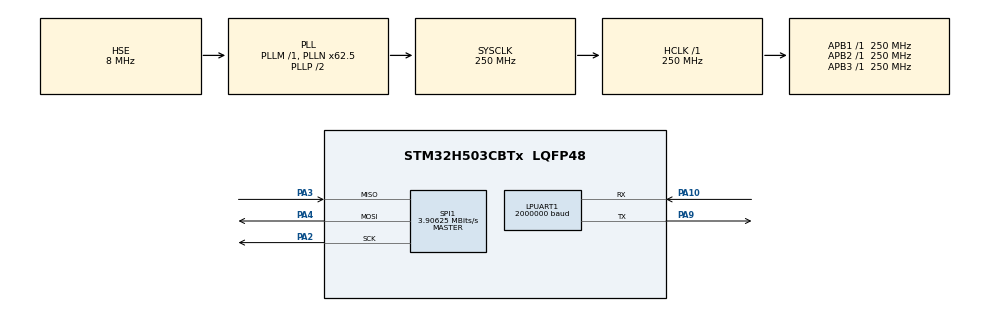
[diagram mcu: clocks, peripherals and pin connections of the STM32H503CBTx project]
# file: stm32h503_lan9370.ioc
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CORTEX_M33_NS.Number-Cortex_Memory_Protection_Unit_Region0_OTP_RO_AREAS_Settings=MPU_REGION_NUMBER0
CORTEX_M33_NS.default_mode_Activation=1
LPUART1.BaudRate=2000000
LPUART1.DMADisableonRxErrorParam=UART_ADVFEATURE_DMA_DISABLEONRXERROR
LPUART1.OverrunDisableParam=UART_ADVFEATURE_OVERRUN_DISABLE
Mcu.Family=STM32H5
Mcu.Name=STM32H503CBTx
Mcu.Package=LQFP48
NVIC.LPUART1_IRQn=true\:0\:0\:false\:false\:true\:true\:true\:true
NVIC.PriorityGroup=NVIC_PRIORITYGROUP_4
PA10.Mode=Asynchronous
PA10.Signal=LPUART1_RX
PA13(JTMS/SWDIO).Mode=Serial_Wire
PA13(JTMS/SWDIO).Signal=DEBUG_JTMS-SWDIO
PA14(JTCK/SWCLK).Mode=Serial_Wire
PA14(JTCK/SWCLK).Signal=DEBUG_JTCK-SWCLK
PA2.Mode=Full_Duplex_Master
PA2.Signal=SPI1_SCK
PA3.Mode=Full_Duplex_Master
PA3.Signal=SPI1_MISO
PA4.Mode=Full_Duplex_Master
PA4.Signal=SPI1_MOSI
PA9.Mode=Asynchronous
PA9.Signal=LPUART1_TX
PH0-OSC_IN(PH0).Mode=HSE-External-Oscillator
PH0-OSC_IN(PH0).Signal=RCC_OSC_IN
PH1-OSC_OUT(PH1).Mode=HSE-External-Oscillator
PH1-OSC_OUT(PH1).Signal=RCC_OSC_OUT
ProjectManager.HeapSize=0x200
ProjectManager.StackSize=0x400
ProjectManager.TargetToolchain=CMake
RCC.ADCFreq_Value=250000000
RCC.AHBFreq_Value=250000000
RCC.APB1Freq_Value=250000000
RCC.APB1TimFreq_Value=250000000
RCC.APB2Freq_Value=250000000
RCC.APB2TimFreq_Value=250000000
RCC.APB3Freq_Value=250000000
RCC.CSI_VALUE=4000000
RCC.CortexFreq_Value=250000000
RCC.EPOD_VALUE=8000000
RCC.HCLKFreq_Value=250000000
RCC.HSE_VALUE=8000000
RCC.HSI48_VALUE=48000000
RCC.HSI_VALUE=64000000
RCC.LSE_VALUE=32768
RCC.LSIRC_VALUE=32000
RCC.PLLFRACN=4096
RCC.PLLN=62
RCC.PLLSourceVirtual=RCC_PLL1_SOURCE_HSE
RCC.SYSCLKFreq_VALUE=250000000
RCC.SYSCLKSource=RCC_SYSCLKSOURCE_PLLCLK
RCC.USBFreq_Value=48000000
RCC.VCOOutputFreq_Value=500000000
SPI1.BaudRatePrescaler=SPI_BAUDRATEPRESCALER_64
SPI1.CalculateBaudRate=3.90625 MBits/s
SPI1.DataSize=SPI_DATASIZE_8BIT
SPI1.Direction=SPI_DIRECTION_2LINES
SPI1.Mode=SPI_MODE_MASTER
SPI1.VirtualType=VM_MASTER
VP_BOOTPATH_VS_BOOTPATH.Mode=BP_Activate
VP_CORTEX_M33_NS_VS_Hclk.Mode=Hclk_Mode
VP_ICACHE_VS_ICACHE.Mode=DirectMappedCache
VP_MEMORYMAP_VS_MEMORYMAP.Mode=CurAppReg
VP_PWR_VS_LPOM.Mode=PowerOptimisation
VP_PWR_VS_SECSignals.Mode=Security/Privilege
board=custom

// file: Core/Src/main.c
/* USER CODE BEGIN Header */
/**
  ******************************************************************************
  * @file           : main.c
  * @brief          : Main program body
  ******************************************************************************
  * @attention
  *
  * Copyright (c) 2026 STMicroelectronics.
  * All rights reserved.
  *
  * This software is licensed under terms that can be found in the LICENSE file
  * in the root directory of this software component.
  * If no LICENSE file comes with this software, it is provided AS-IS.
  *
  ******************************************************************************
  */
/* USER CODE END Header */
#include "main.h"

/* USER CODE BEGIN Includes */
#include "lan9370_driver.h"
#include "lan9370_persist.h"
#include "lan8720_driver.h"
#include "shell_port.h"
#include "app_extensions.h"
#include <stdio.h>
/* USER CODE END Includes */

/* USER CODE BEGIN PD */
#define STATUS_LED_PORT                    GPIOA
#define STATUS_LED_PIN                     GPIO_PIN_5

#define APP_MONITOR_POLL_MS                100U
#define APP_LED_SLOW_BLINK_MS              500U
#define APP_LED_FAST_BLINK_MS              100U
#define APP_LED_ACTIVITY_HOLD_MS           150U
#define APP_PORT2_RECOVERY_TRIGGER_MS      3000U
#define APP_PORT2_RECOVERY_INTERVAL_MS     5000U

/* USER CODE END PD */

UART_HandleTypeDef hlpuart1;

SPI_HandleTypeDef hspi1;

/* USER CODE BEGIN PV */
typedef struct {
  uint32_t lastPollMs;
  uint32_t lastActivityMs;
  uint32_t lastLedToggleMs;
  uint32_t port2DownSinceMs;
  uint32_t lastRecoveryMs;
  uint32_t port2RxTotal;
  uint32_t port2TxTotal;
  uint32_t port5RxTotal;
  uint32_t port5TxTotal;
  uint8_t ledState;
  uint8_t countersValid;
} AppMonitorState_t;

static AppMonitorState_t gAppMonitor = {0};

/* USER CODE END PV */

void SystemClock_Config(void);
static void MPU_Config(void);
static void MX_GPIO_Init(void);
static void MX_ICACHE_Init(void);
static void MX_LPUART1_UART_Init(void);
static void MX_SPI1_Init(void);
/* USER CODE BEGIN PFP */
static void App_StatusLed_Init(void);
static void App_StatusLed_Write(uint8_t on);
static void App_Port2Recover(void);
static void App_MonitorProcess(void);

/* USER CODE END PFP */

/* USER CODE BEGIN 0 */
static void App_StatusLed_Init(void)
{
  GPIO_InitTypeDef GPIO_InitStruct = {0};

  __HAL_RCC_GPIOA_CLK_ENABLE();

  GPIO_InitStruct.Pin = STATUS_LED_PIN;
  GPIO_InitStruct.Mode = GPIO_MODE_OUTPUT_PP;
  GPIO_InitStruct.Pull = GPIO_NOPULL;
  GPIO_InitStruct.Speed = GPIO_SPEED_FREQ_LOW;
  HAL_GPIO_Init(STATUS_LED_PORT, &GPIO_InitStruct);

  App_StatusLed_Write(0U);
}

static void App_StatusLed_Write(uint8_t on)
{
  HAL_GPIO_WritePin(STATUS_LED_PORT, STATUS_LED_PIN, on ? GPIO_PIN_SET : GPIO_PIN_RESET);
  gAppMonitor.ledState = on;
}

static void App_Port2Recover(void)
{
  printf("[RECOVER] Port2 link down, restarting T1 PHY...\r\n");
  (void)LAN9370_RecoverT1Port(LAN9370_PORT_2);
}

static void App_MonitorProcess(void)
{
  LAN9370_PortStatus_t port2Status;
  LAN8720_Status_t lan8720Status;
  uint32_t nowMs;
  uint32_t port2Rx = 0;
  uint32_t port2Tx = 0;
  uint32_t port5Rx = 0;
  uint32_t port5Tx = 0;
  uint8_t port2Mstp = 0U;
  uint8_t port2LinkUp;
  uint8_t port5LinkUp;
  uint8_t activityDetected = 0U;

  nowMs = HAL_GetTick();
  if ((nowMs - gAppMonitor.lastPollMs) < APP_MONITOR_POLL_MS) {
    return;
  }
  gAppMonitor.lastPollMs = nowMs;

  port2LinkUp = (LAN9370_GetPortStatus(LAN9370_PORT_2, &port2Status) == LAN9370_OK && port2Status.linkUp) ? 1U : 0U;
  port5LinkUp = (LAN8720_GetStatus(&lan8720Status) == LAN8720_OK && lan8720Status.linkUp) ? 1U : 0U;
  (void)LAN9370_SPI_ReadReg8(PORT_CTRL_ADDR(1U, REG_PORTn_MSTP_STATE), &port2Mstp);

  if (LAN9370_ReadPortMibCounter(LAN9370_PORT_2, LAN9370_MIB_RX_TOTAL_IDX, &port2Rx) == LAN9370_OK &&
      LAN9370_ReadPortMibCounter(LAN9370_PORT_2, LAN9370_MIB_TX_TOTAL_IDX, &port2Tx) == LAN9370_OK &&
      LAN9370_ReadPortMibCounter(LAN9370_PORT_5, LAN9370_MIB_RX_TOTAL_IDX, &port5Rx) == LAN9370_OK &&
      LAN9370_ReadPortMibCounter(LAN9370_PORT_5, LAN9370_MIB_TX_TOTAL_IDX, &port5Tx) == LAN9370_OK) {

    if (gAppMonitor.countersValid != 0U) {
      if (port2Rx != gAppMonitor.port2RxTotal ||
          port2Tx != gAppMonitor.port2TxTotal ||
          port5Rx != gAppMonitor.port5RxTotal ||
          port5Tx != gAppMonitor.port5TxTotal) {
        activityDetected = 1U;
        gAppMonitor.lastActivityMs = nowMs;
      }
    } else {
      gAppMonitor.countersValid = 1U;
      gAppMonitor.lastActivityMs = nowMs;
    }

    gAppMonitor.port2RxTotal = port2Rx;
    gAppMonitor.port2TxTotal = port2Tx;
    gAppMonitor.port5RxTotal = port5Rx;
    gAppMonitor.port5TxTotal = port5Tx;
  }

  if ((port2Mstp & (PORT_TX_ENABLE | PORT_RX_ENABLE)) == 0U) {
    gAppMonitor.port2DownSinceMs = 0U;
  } else if (port2LinkUp == 0U) {
    if (gAppMonitor.port2DownSinceMs == 0U) {
      gAppMonitor.port2DownSinceMs = nowMs;
    } else if ((nowMs - gAppMonitor.port2DownSinceMs) >= APP_PORT2_RECOVERY_TRIGGER_MS &&
               (nowMs - gAppMonitor.lastRecoveryMs) >= APP_PORT2_RECOVERY_INTERVAL_MS) {
      App_Port2Recover();
      gAppMonitor.lastRecoveryMs = HAL_GetTick();
      gAppMonitor.port2DownSinceMs = gAppMonitor.lastRecoveryMs;
    }
  } else {
    gAppMonitor.port2DownSinceMs = 0U;
  }

  if (port2LinkUp == 0U && port5LinkUp == 0U) {
    App_StatusLed_Write(0U);
  } else if (port2LinkUp == 0U || port5LinkUp == 0U) {
    if ((nowMs - gAppMonitor.lastLedToggleMs) >= APP_LED_SLOW_BLINK_MS) {
      gAppMonitor.lastLedToggleMs = nowMs;
      App_StatusLed_Write((uint8_t)!gAppMonitor.ledState);
    }
  } else if (activityDetected != 0U || (nowMs - gAppMonitor.lastActivityMs) <= APP_LED_ACTIVITY_HOLD_MS) {
    if ((nowMs - gAppMonitor.lastLedToggleMs) >= APP_LED_FAST_BLINK_MS) {
      gAppMonitor.lastLedToggleMs = nowMs;
      App_StatusLed_Write((uint8_t)!gAppMonitor.ledState);
    }
  } else {
    App_StatusLed_Write(1U);
  }
}
/* USER CODE END 0 */

int main(void)
{

  /* MCU Configuration--------------------------------------------------------*/

  /* MPU Configuration--------------------------------------------------------*/
  MPU_Config();

  /* Reset of all peripherals, Initializes the Flash interface and the Systick. */
  HAL_Init();

  /* Configure the system clock */
  SystemClock_Config();

  /* Initialize all configured peripherals */
  MX_GPIO_Init();
  App_StatusLed_Init();
  MX_ICACHE_Init();
  MX_LPUART1_UART_Init();
  MX_SPI1_Init();
  /* USER CODE BEGIN 2 */

  /* Initialize shell UART output first so printf works during init */
  Shell_Init(&hlpuart1);

  /* ======================================================================= */
  /* Initialize LAN9370 Switch                                              */
  /* ======================================================================= */
  if (LAN9370_Init(&hspi1) != LAN9370_OK) {
    printf("[ERR] LAN9370 init failed\r\n");
    Error_Handler();
  }

  /* Chip info */
  {
    LAN9370_ChipInfo_t chipInfo;
    if (LAN9370_GetChipInfo(&chipInfo) == LAN9370_OK) {
      printf("[LAN9370] %s, ID=0x%08lX, Rev=%d\r\n",
             chipInfo.chipName, chipInfo.chipId, chipInfo.revisionId);
    }
  }

  /* Post-reset VPHY indirect access enable (critical for T1 PHY access) */
  {
    uint8_t vphyVal = 0;
    for (int attempt = 0; attempt < 5; attempt++) {
      HAL_Delay(10);
      LAN9370_SPI_ReadReg8(0x077C, &vphyVal);
      LAN9370_SPI_WriteReg8(0x077C, vphyVal | 0x10);
      HAL_Delay(5);
      LAN9370_SPI_ReadReg8(0x077C, &vphyVal);
      if (vphyVal & 0x10) break;
    }
    if (!(vphyVal & 0x10)) {
      printf("[WARN] VPHY enable failed, T1 ports may not work\r\n");
    }
  }

  /* ---- 100BASE-T1 Port Configuration ----
   * Current bench wiring only uses Port2 <-> external 100BASE-T1 device.
   * Port1/3/4 are left floating and should stay disabled in release builds. */
  LAN9370_SetPortEnable(LAN9370_PORT_1, false);
  LAN9370_SetT1MasterSlave(LAN9370_PORT_2, LAN9370_T1_MASTER);
  LAN9370_SetPortEnable(LAN9370_PORT_2, true);
  LAN9370_SetPortEnable(LAN9370_PORT_3, false);
  LAN9370_SetPortEnable(LAN9370_PORT_4, false);

  /* ---- Port 5: RMII to LAN8720 ---- */
  {
    uint8_t xmii0, xmii1;
    LAN9370_SPI_ReadReg8(0x5300, &xmii0);
    xmii0 = (xmii0 & 0xE3) | 0x01;  /* RMII mode, TX/RX clocks output */
    LAN9370_SPI_WriteReg8(0x5300, xmii0);

    LAN9370_SPI_ReadReg8(0x5301, &xmii1);
    xmii1 |= 0xC0;  /* REFCLK input, 100M only */
    LAN9370_SPI_WriteReg8(0x5301, xmii1);
  }
  LAN9370_SetPortEnable(LAN9370_PORT_5, true);

  /* ---- LAN8720 External PHY Init (MCU direct MDIO on PB6/PB5) ---- */
  {
    LAN8720_Ret_t lan8720Ret = LAN8720_Init();
    if (lan8720Ret == LAN8720_OK) {
      printf("[LAN8720] Init OK\r\n");
    } else if (lan8720Ret == LAN8720_NO_PHY) {
      printf("[LAN8720] No PHY found (check MDIO wiring)\r\n");
    } else {
      printf("[LAN8720] Init failed (%d)\r\n", (int)lan8720Ret);
    }
  }

  /* ---- L2 Forwarding ----
   * Active datapath is Port2 <-> Port5 only.
   * Isolate floating ports to reduce noise during release testing. */
  LAN9370_SetPortMembership(LAN9370_PORT_1, 0x00);
  LAN9370_SetPortMembership(LAN9370_PORT_2, 0x12);
  LAN9370_SetPortMembership(LAN9370_PORT_3, 0x00);
  LAN9370_SetPortMembership(LAN9370_PORT_4, 0x00);
  LAN9370_SetPortMembership(LAN9370_PORT_5, 0x12);

  /* Enable MAC learning */
  LAN9370_SetMACLearning(true);

  printf("[LAN9370] Configuration complete\r\n");

  /* ======================================================================= */
  /* Extensions                                                            */
  /* ======================================================================= */
  App_Extensions_Init();

  /* USER CODE END 2 */

  /* Infinite loop */
  while (1)
  {

    /* USER CODE BEGIN 3 */
    /* Process shell commands */
    Shell_Process();
    App_MonitorProcess();

  }
  /* USER CODE END 3 */
}

void SystemClock_Config(void)
{
  RCC_OscInitTypeDef RCC_OscInitStruct = {0};
  RCC_ClkInitTypeDef RCC_ClkInitStruct = {0};

  /** Configure the main internal regulator output voltage
  */
  __HAL_PWR_VOLTAGESCALING_CONFIG(PWR_REGULATOR_VOLTAGE_SCALE0);

  while(!__HAL_PWR_GET_FLAG(PWR_FLAG_VOSRDY)) {}

  /** Initializes the RCC Oscillators according to the specified parameters
  * in the RCC_OscInitTypeDef structure.
  */
  RCC_OscInitStruct.OscillatorType = RCC_OSCILLATORTYPE_HSE;
  RCC_OscInitStruct.HSEState = RCC_HSE_ON;
  RCC_OscInitStruct.PLL.PLLState = RCC_PLL_ON;
  RCC_OscInitStruct.PLL.PLLSource = RCC_PLL1_SOURCE_HSE;
  RCC_OscInitStruct.PLL.PLLM = 1;
  RCC_OscInitStruct.PLL.PLLN = 62;
  RCC_OscInitStruct.PLL.PLLP = 2;
  RCC_OscInitStruct.PLL.PLLQ = 2;
  RCC_OscInitStruct.PLL.PLLR = 2;
  RCC_OscInitStruct.PLL.PLLRGE = RCC_PLL1_VCIRANGE_3;
  RCC_OscInitStruct.PLL.PLLVCOSEL = RCC_PLL1_VCORANGE_WIDE;
  RCC_OscInitStruct.PLL.PLLFRACN = 4096;
  if (HAL_RCC_OscConfig(&RCC_OscInitStruct) != HAL_OK)
  {
    Error_Handler();
  }

  /** Initializes the CPU, AHB and APB buses clocks
  */
  RCC_ClkInitStruct.ClockType = RCC_CLOCKTYPE_HCLK|RCC_CLOCKTYPE_SYSCLK
                              |RCC_CLOCKTYPE_PCLK1|RCC_CLOCKTYPE_PCLK2
                              |RCC_CLOCKTYPE_PCLK3;
  RCC_ClkInitStruct.SYSCLKSource = RCC_SYSCLKSOURCE_PLLCLK;
  RCC_ClkInitStruct.AHBCLKDivider = RCC_SYSCLK_DIV1;
  RCC_ClkInitStruct.APB1CLKDivider = RCC_HCLK_DIV1;
  RCC_ClkInitStruct.APB2CLKDivider = RCC_HCLK_DIV1;
  RCC_ClkInitStruct.APB3CLKDivider = RCC_HCLK_DIV1;

  if (HAL_RCC_ClockConfig(&RCC_ClkInitStruct, FLASH_LATENCY_5) != HAL_OK)
  {
    Error_Handler();
  }

  /** Configure the programming delay
  */
  __HAL_FLASH_SET_PROGRAM_DELAY(FLASH_PROGRAMMING_DELAY_2);
}

static void MX_ICACHE_Init(void)
{

  /** Enable instruction cache in 1-way (direct mapped cache)
  */
  if (HAL_ICACHE_ConfigAssociativityMode(ICACHE_1WAY) != HAL_OK)
  {
    Error_Handler();
  }
  if (HAL_ICACHE_Enable() != HAL_OK)
  {
    Error_Handler();
  }

}

static void MX_LPUART1_UART_Init(void)
{

  hlpuart1.Instance = LPUART1;
  hlpuart1.Init.BaudRate = 2000000;
  hlpuart1.Init.WordLength = UART_WORDLENGTH_8B;
  hlpuart1.Init.StopBits = UART_STOPBITS_1;
  hlpuart1.Init.Parity = UART_PARITY_NONE;
  hlpuart1.Init.Mode = UART_MODE_TX_RX;
  hlpuart1.Init.HwFlowCtl = UART_HWCONTROL_NONE;
  hlpuart1.Init.OneBitSampling = UART_ONE_BIT_SAMPLE_DISABLE;
  hlpuart1.Init.ClockPrescaler = UART_PRESCALER_DIV1;
  hlpuart1.AdvancedInit.AdvFeatureInit = UART_ADVFEATURE_RXOVERRUNDISABLE_INIT|UART_ADVFEATURE_DMADISABLEONERROR_INIT;
  hlpuart1.AdvancedInit.OverrunDisable = UART_ADVFEATURE_OVERRUN_DISABLE;
  hlpuart1.AdvancedInit.DMADisableonRxError = UART_ADVFEATURE_DMA_DISABLEONRXERROR;
  hlpuart1.FifoMode = UART_FIFOMODE_DISABLE;
  if (HAL_UART_Init(&hlpuart1) != HAL_OK)
  {
    Error_Handler();
  }
  if (HAL_UARTEx_SetTxFifoThreshold(&hlpuart1, UART_TXFIFO_THRESHOLD_1_8) != HAL_OK)
  {
    Error_Handler();
  }
  if (HAL_UARTEx_SetRxFifoThreshold(&hlpuart1, UART_RXFIFO_THRESHOLD_1_8) != HAL_OK)
  {
    Error_Handler();
  }
  if (HAL_UARTEx_DisableFifoMode(&hlpuart1) != HAL_OK)
  {
    Error_Handler();
  }

}

static void MX_SPI1_Init(void)
{

  /* SPI1 parameter configuration*/
  hspi1.Instance = SPI1;
  hspi1.Init.Mode = SPI_MODE_MASTER;
  hspi1.Init.Direction = SPI_DIRECTION_2LINES;
  hspi1.Init.DataSize = SPI_DATASIZE_8BIT;
  hspi1.Init.CLKPolarity = SPI_POLARITY_HIGH;
  hspi1.Init.CLKPhase = SPI_PHASE_2EDGE;
  hspi1.Init.NSS = SPI_NSS_SOFT;
  hspi1.Init.BaudRatePrescaler = SPI_BAUDRATEPRESCALER_64;
  hspi1.Init.FirstBit = SPI_FIRSTBIT_MSB;
  hspi1.Init.TIMode = SPI_TIMODE_DISABLE;
  hspi1.Init.CRCCalculation = SPI_CRCCALCULATION_DISABLE;
  hspi1.Init.CRCPolynomial = 0x7;
  hspi1.Init.NSSPMode = SPI_NSS_PULSE_DISABLE;
  hspi1.Init.NSSPolarity = SPI_NSS_POLARITY_LOW;
  hspi1.Init.FifoThreshold = SPI_FIFO_THRESHOLD_01DATA;
  hspi1.Init.MasterSSIdleness = SPI_MASTER_SS_IDLENESS_00CYCLE;
  hspi1.Init.MasterInterDataIdleness = SPI_MASTER_INTERDATA_IDLENESS_00CYCLE;
  hspi1.Init.MasterReceiverAutoSusp = SPI_MASTER_RX_AUTOSUSP_DISABLE;
  hspi1.Init.MasterKeepIOState = SPI_MASTER_KEEP_IO_STATE_DISABLE;
  hspi1.Init.IOSwap = SPI_IO_SWAP_DISABLE;
  hspi1.Init.ReadyMasterManagement = SPI_RDY_MASTER_MANAGEMENT_INTERNALLY;
  hspi1.Init.ReadyPolarity = SPI_RDY_POLARITY_HIGH;
  if (HAL_SPI_Init(&hspi1) != HAL_OK)
  {
    Error_Handler();
  }

}

static void MX_GPIO_Init(void)
{

  /* GPIO Ports Clock Enable */
  __HAL_RCC_GPIOH_CLK_ENABLE();
  __HAL_RCC_GPIOA_CLK_ENABLE();

}

 /* MPU Configuration */

void MPU_Config(void)
{
  MPU_Region_InitTypeDef MPU_InitStruct = {0};
  MPU_Attributes_InitTypeDef MPU_AttributesInit = {0};

  /* Disables the MPU */
  HAL_MPU_Disable();

  /** Initializes and configures the Region 0 and the memory to be protected
  */
  MPU_InitStruct.Enable = MPU_REGION_ENABLE;
  MPU_InitStruct.Number = MPU_REGION_NUMBER0;
  MPU_InitStruct.BaseAddress = 0x08FFF000;
  MPU_InitStruct.LimitAddress = 0x08FFFFFF;
  MPU_InitStruct.AttributesIndex = MPU_ATTRIBUTES_NUMBER0;
  MPU_InitStruct.AccessPermission = MPU_REGION_ALL_RO;
  MPU_InitStruct.DisableExec = MPU_INSTRUCTION_ACCESS_DISABLE;
  MPU_InitStruct.IsShareable = MPU_ACCESS_NOT_SHAREABLE;

  HAL_MPU_ConfigRegion(&MPU_InitStruct);

  /** Initializes and configures the Attribute 0 and the memory to be protected
  */
  MPU_AttributesInit.Number = MPU_ATTRIBUTES_NUMBER0;
  MPU_AttributesInit.Attributes = INNER_OUTER(MPU_NOT_CACHEABLE);

  HAL_MPU_ConfigMemoryAttributes(&MPU_AttributesInit);
  /* Enables the MPU */
  HAL_MPU_Enable(MPU_PRIVILEGED_DEFAULT);

}

void Error_Handler(void)
{
  __disable_irq();
  while (1)
  {
  }
}
